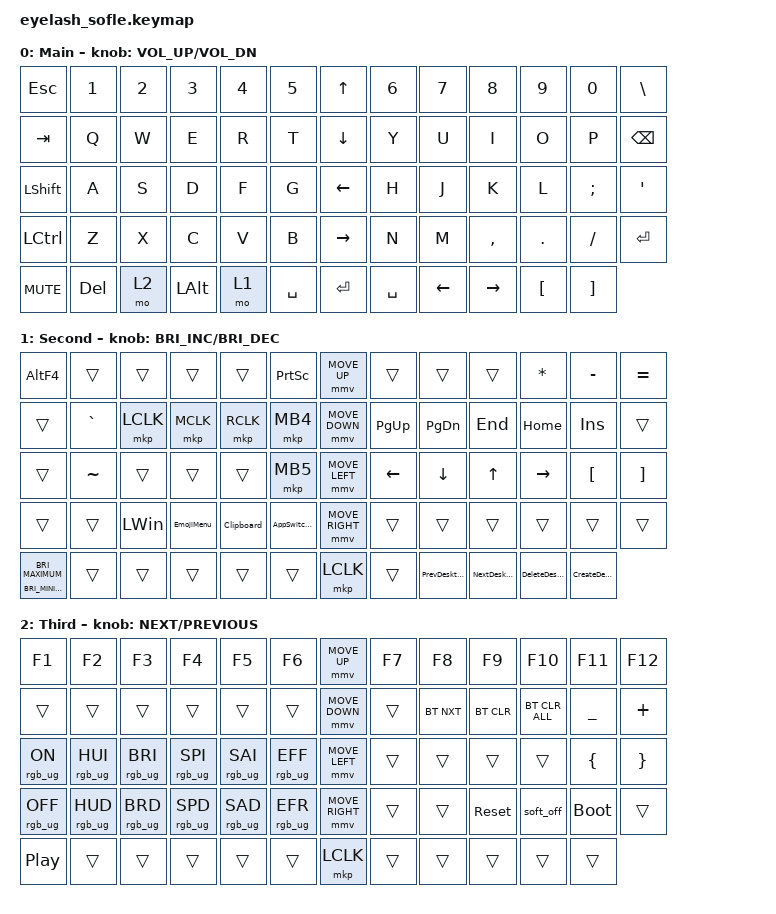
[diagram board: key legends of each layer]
#define ZMK_POINTING_DEFAULT_MOVE_VAL 1200  // 600
#define ZMK_POINTING_DEFAULT_SCRL_VAL 25   // 10

#include <input/processors.dtsi>
#include <zephyr/dt-bindings/input/input-event-codes.h>
#include <behaviors.dtsi>
#include <dt-bindings/zmk/bt.h>
#include <dt-bindings/zmk/keys.h>
#include <dt-bindings/zmk/pointing.h>
#include <dt-bindings/zmk/rgb.h>

&mmv_input_listener { input-processors = <&zip_xy_scaler 2 1>; };

&msc_input_listener { input-processors = <&zip_scroll_scaler 2 1>; };

&msc {
    acceleration-exponent = <1>;      // 0
    time-to-max-speed-ms = <100>;       // 300
    delay-ms = <0>;                   // 0
};

&mmv {
    time-to-max-speed-ms = <500>;
    acceleration-exponent = <1>;
    trigger-period-ms = <16>;
};

&soft_off { hold-time-ms = <2000>; };

/ {
    scroll_encoder: scroll_encoder {
        compatible = "zmk,behavior-sensor-rotate";
        #sensor-binding-cells = <0>;
        bindings = <&msc SCRL_DOWN>, <&msc SCRL_UP>;

        tap-ms = <100>;
    };

    behaviors {
    };

    combos {
        compatible = "zmk,combos";

        softoff {
            bindings = <&soft_off>;
            key-positions = <14 28 40>;
        };
    };

    macros {
        SHIFT_MCLK: SHIFT_MCLK {
            compatible = "zmk,behavior-macro";
            #binding-cells = <0>;
            bindings =
                <&macro_press>,
                <&kp LEFT_SHIFT>,
                <&macro_press>,
                <&mkp MB3>,
                <&macro_pause_for_release>,
                <&macro_release>,
                <&kp LEFT_SHIFT &mkp MB3>;

            label = "SHIFT_MCLK";
        };

        NextDesktop: NextDesktop {
            compatible = "zmk,behavior-macro";
            #binding-cells = <0>;
            bindings =
                <&macro_press>,
                <&kp LEFT_GUI &kp LCTRL>,
                <&macro_tap>,
                <&kp RIGHT>,
                <&macro_release>,
                <&kp LEFT_GUI &kp LEFT_CONTROL>,
                <&macro_press>;

            label = "NEXTDESKTOP";
            wait-ms = <10>;
            tap-ms = <5>;
        };

        PrevDesktop: PrevDesktop {
            compatible = "zmk,behavior-macro";
            #binding-cells = <0>;
            bindings =
                <&macro_press>,
                <&kp LEFT_GUI &kp LCTRL>,
                <&macro_tap>,
                <&kp LEFT_ARROW>,
                <&macro_release>,
                <&kp LEFT_GUI &kp LEFT_CONTROL>;

            label = "PREVDESKTOP";
            wait-ms = <10>;
            tap-ms = <5>;
        };

        CreateDesktop: CreateDesktop {
            compatible = "zmk,behavior-macro";
            #binding-cells = <0>;
            bindings =
                <&macro_press>,
                <&kp LC(LEFT_GUI)>,
                <&macro_tap>,
                <&kp D>,
                <&macro_release>,
                <&kp LC(LEFT_GUI)>;

            label = "CREATEDESKTOP";
            wait-ms = <10>;
            tap-ms = <5>;
        };

        DeleteDesktop: DeleteDesktop {
            compatible = "zmk,behavior-macro";
            #binding-cells = <0>;
            bindings =
                <&macro_press>,
                <&kp LCTRL &kp LEFT_GUI>,
                <&macro_tap>,
                <&kp F4>,
                <&macro_release>,
                <&kp LCTRL &kp LEFT_GUI>;

            label = "DELETEDESKTOP";
            tap-ms = <5>;
            wait-ms = <10>;
        };

        AltF4: AltF4 {
            compatible = "zmk,behavior-macro";
            #binding-cells = <0>;
            bindings =
                <&macro_press>,
                <&kp LEFT_ALT>,
                <&macro_tap>,
                <&kp F4>,
                <&macro_release>,
                <&kp LEFT_ALT>;

            label = "ALTF4";
            wait-ms = <10>;
            tap-ms = <5>;
        };

        AppSwitcher: AppSwitcher {
            compatible = "zmk,behavior-macro";
            #binding-cells = <0>;
            bindings =
                <&macro_press>,
                <&kp LEFT_GUI>,
                <&macro_tap>,
                <&kp TAB>,
                <&macro_release>,
                <&kp LEFT_GUI>;

            label = "APPSWITCHER";
            wait-ms = <10>;
            tap-ms = <5>;
        };

        Clipboard: Clipboard {
            compatible = "zmk,behavior-macro";
            #binding-cells = <0>;
            bindings =
                <&macro_press>,
                <&kp LEFT_GUI>,
                <&macro_tap>,
                <&kp V>,
                <&macro_release>,
                <&kp LEFT_GUI>;

            label = "CLIPBOARD";
        };

        EmojiMenu: EmojiMenu {
            compatible = "zmk,behavior-macro";
            #binding-cells = <0>;
            bindings =
                <&macro_press>,
                <&kp LEFT_GUI>,
                <&macro_tap>,
                <&kp DOT>,
                <&macro_release>,
                <&kp LEFT_GUI>;

            label = "EMOJIMENU";
        };
    };

    keymap {
        compatible = "zmk,keymap";

        Main {
            bindings = <
&kp ESC         &kp N1   &kp N2  &kp N3        &kp N4  &kp N5       &kp UP_ARROW     &kp N6     &kp N7          &kp N8           &kp N9            &kp N0             &kp BACKSLASH
&kp TAB         &kp Q    &kp W   &kp E         &kp R   &kp T        &kp DOWN_ARROW   &kp Y      &kp U           &kp I            &kp O             &kp P              &kp BACKSPACE
&kp LEFT_SHIFT  &kp A    &kp S   &kp D         &kp F   &kp G        &kp LEFT_ARROW   &kp H      &kp J           &kp K            &kp L             &kp SEMI           &kp APOS
&kp LCTRL       &kp Z    &kp X   &kp C         &kp V   &kp B        &kp RIGHT_ARROW  &kp N      &kp M           &kp COMMA        &kp DOT           &kp FSLH           &kp ENTER
&kp C_MUTE      &kp DEL  &mo 2   &kp LEFT_ALT  &mo 1   &kp SPACE    &kp ENTER        &kp SPACE  &kp LEFT_ARROW  &kp RIGHT_ARROW  &kp LEFT_BRACKET  &kp RIGHT_BRACKET
            >;

            sensor-bindings = <&inc_dec_kp C_VOLUME_UP C_VOL_DN>;
            display-name = "Main";
        };

        Second {
            bindings = <
&AltF4                                         &trans     &trans        &trans      &trans      &kp PRINTSCREEN    &mmv MOVE_UP     &trans          &trans         &trans        &kp STAR        &kp MINUS         &kp EQUAL
&trans                                         &kp GRAVE  &mkp LCLK     &mkp MCLK   &mkp RCLK   &mkp MB4           &mmv MOVE_DOWN   &kp PG_UP       &kp PAGE_DOWN  &kp END       &kp HOME        &kp INSERT        &trans
&trans                                         &kp TILDE  &trans        &trans      &trans      &mkp MB5           &mmv MOVE_LEFT   &kp LEFT_ARROW  &kp DOWN       &kp UP_ARROW  &kp RIGHT       &kp LEFT_BRACKET  &kp RIGHT_BRACKET
&trans                                         &trans     &kp LEFT_WIN  &EmojiMenu  &Clipboard  &AppSwitcher       &mmv MOVE_RIGHT  &trans          &trans         &trans        &trans          &trans            &trans
&mt C_BRIGHTNESS_MINIMUM C_BRIGHTNESS_MAXIMUM  &trans     &trans        &trans      &trans      &trans             &mkp LCLK        &trans          &PrevDesktop   &NextDesktop  &DeleteDesktop  &CreateDesktop
            >;

            display-name = "Second";
            sensor-bindings = <&inc_dec_kp C_BRIGHTNESS_INC C_BRIGHTNESS_DEC>;
        };

        Third {
            bindings = <
&kp F1            &kp F2           &kp F3           &kp F4           &kp F5           &kp F6             &mmv MOVE_UP     &kp F7  &kp F8      &kp F9      &kp F10         &kp F11      &kp F12
&trans            &trans           &trans           &trans           &trans           &trans             &mmv MOVE_DOWN   &trans  &bt BT_NXT  &bt BT_CLR  &bt BT_CLR_ALL  &kp UNDER    &kp PLUS
&rgb_ug RGB_ON    &rgb_ug RGB_HUI  &rgb_ug RGB_BRI  &rgb_ug RGB_SPI  &rgb_ug RGB_SAI  &rgb_ug RGB_EFF    &mmv MOVE_LEFT   &trans  &trans      &trans      &trans          &kp LBRC     &kp RBRC
&rgb_ug RGB_OFF   &rgb_ug RGB_HUD  &rgb_ug RGB_BRD  &rgb_ug RGB_SPD  &rgb_ug RGB_SAD  &rgb_ug RGB_EFR    &mmv MOVE_RIGHT  &trans  &trans      &sys_reset  &soft_off       &bootloader  &trans
&kp C_PLAY_PAUSE  &trans           &trans           &trans           &trans           &trans             &mkp LCLK        &trans  &trans      &trans      &trans          &trans
            >;

            display-name = "Third";
            sensor-bindings = <&inc_dec_kp C_NEXT C_PREVIOUS>;
        };
    };
};
